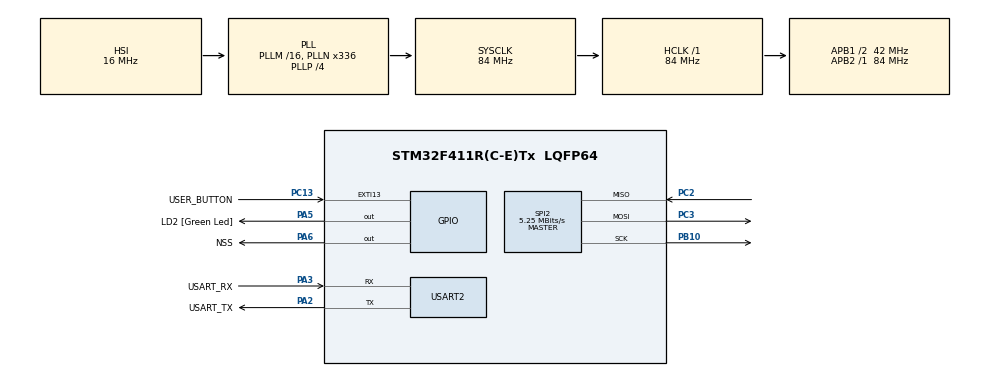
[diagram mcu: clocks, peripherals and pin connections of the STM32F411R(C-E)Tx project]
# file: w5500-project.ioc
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Dma.Request0=USART2_RX
Dma.Request1=USART2_TX
Dma.USART2_RX.0.Direction=DMA_PERIPH_TO_MEMORY
Dma.USART2_RX.0.FIFOMode=DMA_FIFOMODE_DISABLE
Dma.USART2_RX.0.Instance=DMA1_Stream5
Dma.USART2_RX.0.MemDataAlignment=DMA_MDATAALIGN_BYTE
Dma.USART2_RX.0.MemInc=DMA_MINC_ENABLE
Dma.USART2_RX.0.Mode=DMA_NORMAL
Dma.USART2_RX.0.PeriphDataAlignment=DMA_PDATAALIGN_BYTE
Dma.USART2_RX.0.PeriphInc=DMA_PINC_DISABLE
Dma.USART2_RX.0.Priority=DMA_PRIORITY_LOW
Dma.USART2_TX.1.Direction=DMA_MEMORY_TO_PERIPH
Dma.USART2_TX.1.FIFOMode=DMA_FIFOMODE_DISABLE
Dma.USART2_TX.1.Instance=DMA1_Stream6
Dma.USART2_TX.1.MemDataAlignment=DMA_MDATAALIGN_BYTE
Dma.USART2_TX.1.MemInc=DMA_MINC_ENABLE
Dma.USART2_TX.1.Mode=DMA_NORMAL
Dma.USART2_TX.1.PeriphDataAlignment=DMA_PDATAALIGN_BYTE
Dma.USART2_TX.1.PeriphInc=DMA_PINC_DISABLE
Dma.USART2_TX.1.Priority=DMA_PRIORITY_LOW
Mcu.Family=STM32F4
Mcu.Name=STM32F411R(C-E)Tx
Mcu.Package=LQFP64
NVIC.DMA1_Stream5_IRQn=true\:0\:0\:false\:false\:true\:false\:true\:true
NVIC.DMA1_Stream6_IRQn=true\:0\:0\:false\:false\:true\:false\:true\:true
NVIC.PriorityGroup=NVIC_PRIORITYGROUP_0
NVIC.USART2_IRQn=true\:0\:0\:false\:false\:true\:true\:true\:true
PA13.GPIO_Label=TMS
PA13.Mode=Serial_Wire
PA13.Signal=SYS_JTMS-SWDIO
PA14.GPIO_Label=TCK
PA14.Mode=Serial_Wire
PA14.Signal=SYS_JTCK-SWCLK
PA2.GPIO_Label=USART_TX
PA2.Mode=Asynchronous
PA2.Signal=USART2_TX
PA3.GPIO_Label=USART_RX
PA3.Mode=Asynchronous
PA3.Signal=USART2_RX
PA5.GPIO_Label=LD2 [Green Led]
PA5.Signal=GPIO_Output
PA6.GPIO_Label=NSS
PA6.Signal=GPIO_Output
PB10.Mode=Full_Duplex_Master
PB10.Signal=SPI2_SCK
PB3.GPIO_Label=SWO
PB3.Signal=SYS_JTDO-SWO
PC13-ANTI_TAMP.GPIO_Label=USER_BUTTON
PC13-ANTI_TAMP.GPIO_ModeDefaultEXTI=GPIO_MODE_IT_FALLING
PC13-ANTI_TAMP.Signal=GPXTI13
PC14-OSC32_IN.Mode=LSE-External-Oscillator
PC14-OSC32_IN.Signal=RCC_OSC32_IN
PC15-OSC32_OUT.Mode=LSE-External-Oscillator
PC15-OSC32_OUT.Signal=RCC_OSC32_OUT
PC2.GPIO_PuPd=GPIO_NOPULL
PC2.Mode=Full_Duplex_Master
PC2.Signal=SPI2_MISO
PC3.Mode=Full_Duplex_Master
PC3.Signal=SPI2_MOSI
PH0\ -\ OSC_IN.Mode=HSE-External-Clock-Source
PH0\ -\ OSC_IN.Signal=RCC_OSC_IN
PH1\ -\ OSC_OUT.Mode=HSE-External-Clock-Source
PH1\ -\ OSC_OUT.Signal=RCC_OSC_OUT
ProjectManager.HeapSize=0x200
ProjectManager.StackSize=0x400
ProjectManager.TargetToolchain=Makefile
RCC.48MHZClocksFreq_Value=84000000
RCC.AHBFreq_Value=84000000
RCC.APB1CLKDivider=RCC_HCLK_DIV2
RCC.APB1Freq_Value=42000000
RCC.APB1TimFreq_Value=84000000
RCC.APB2Freq_Value=84000000
RCC.APB2TimFreq_Value=84000000
RCC.CortexFreq_Value=84000000
RCC.FLatency-AdvancedSettings=FLASH_LATENCY_2
RCC.HCLKFreq_Value=84000000
RCC.HSE_VALUE=8000000
RCC.HSI_VALUE=16000000
RCC.PLLN=336
RCC.PLLP=RCC_PLLP_DIV4
RCC.SYSCLKFreq_VALUE=84000000
RCC.SYSCLKSource=RCC_SYSCLKSOURCE_PLLCLK
RCC.VCOOutputFreq_Value=336000000
SPI2.BaudRatePrescaler=SPI_BAUDRATEPRESCALER_8
SPI2.CalculateBaudRate=5.25 MBits/s
SPI2.Direction=SPI_DIRECTION_2LINES
SPI2.Mode=SPI_MODE_MASTER
SPI2.VirtualType=VM_MASTER
USART2.VirtualMode=VM_ASYNC
board=NUCLEO-F411RE

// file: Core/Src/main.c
/* USER CODE BEGIN Header */
/**
  ******************************************************************************
  * @file           : main.c
  * @brief          : Main program body
  ******************************************************************************
  * @attention
  *
  * Copyright (c) 2022 STMicroelectronics.
  * All rights reserved.
  *
  * This software is licensed under terms that can be found in the LICENSE file
  * in the root directory of this software component.
  * If no LICENSE file comes with this software, it is provided AS-IS.
  *
  ******************************************************************************
  */
/* USER CODE END Header */
#include "main.h"

/* USER CODE BEGIN Includes */

#include <stdio.h>
#include "wiznet_communication.h"
#include "serial_communication.h"
#include "command_handler.h"
#include "consts.h"
#include "tmp.h"

/* USER CODE END Includes */

SPI_HandleTypeDef hspi2;
UART_HandleTypeDef huart2;
DMA_HandleTypeDef hdma_usart2_rx;
DMA_HandleTypeDef hdma_usart2_tx;

void SystemClock_Config(void);
static void MX_GPIO_Init(void);
static void MX_DMA_Init(void);
static void MX_SPI2_Init(void);
static void MX_USART2_UART_Init(void);

int main(void)
{

  /* MCU Configuration--------------------------------------------------------*/

  /* Reset of all peripherals, Initializes the Flash interface and the Systick. */
  HAL_Init();

  /* Configure the system clock */
  SystemClock_Config();

  /* Initialize all configured peripherals */
  MX_GPIO_Init();
  MX_DMA_Init();
  MX_SPI2_Init();
  MX_USART2_UART_Init();

  /* USER CODE BEGIN 2 */
  uint8_t buffRead[22];
  uint8_t buffWrite_Gateway[3] = { 0b00000000, 0b00000001, 0b00000000 };

  HAL_UART_Receive_DMA(&huart2, (uint8_t *)&ReceivedOpCode.dword, 8);

  int send_data = 0;
  int time = HAL_GetTick();
  int time_since_change = HAL_GetTick();

  //TBD
  readFromGateway();

  // TBD
  setDataTmp(&huart2, &ReceivedOpCode, &hspi2);
  send_init_data(&ReceivedOpCode);
  /* USER CODE END 2 */

  /* Infinite loop */
  /* USER CODE BEGIN WHILE */
  while (1)
  {
    if (HAL_GPIO_ReadPin(USER_BUTTON_GPIO_Port, USER_BUTTON_Pin) == GPIO_PIN_RESET) {
      if (time_since_change + 100 <= HAL_GetTick()) {
        if (send_data) {
          send_data = 0;
          HAL_GPIO_WritePin(LD2_GPIO_Port, LD2_Pin, GPIO_PIN_SET);
          time_since_change = HAL_GetTick();
        } else {
          send_data = 1;
          HAL_GPIO_WritePin(LD2_GPIO_Port, LD2_Pin, GPIO_PIN_RESET);
          time = HAL_GetTick();
          time_since_change = HAL_GetTick();
        }
      }
    }

    if (send_data) {
      if (time + 2000 <= HAL_GetTick()) {
        HAL_GPIO_WritePin(NSS_GPIO_Port, NSS_Pin, GPIO_PIN_RESET);
        HAL_SPI_Transmit(&hspi2, buffWrite_Gateway, 3, HAL_MAX_DELAY);
        HAL_SPI_Receive(&hspi2, buffRead, 22, HAL_MAX_DELAY);
        HAL_GPIO_WritePin(NSS_GPIO_Port, NSS_Pin, GPIO_PIN_SET);
        time = HAL_GetTick();
      }
    }
    /* USER CODE END WHILE */

  }
}

void SystemClock_Config(void)
{
  RCC_OscInitTypeDef RCC_OscInitStruct = {0};
  RCC_ClkInitTypeDef RCC_ClkInitStruct = {0};

  /** Configure the main internal regulator output voltage
  */
  __HAL_RCC_PWR_CLK_ENABLE();
  __HAL_PWR_VOLTAGESCALING_CONFIG(PWR_REGULATOR_VOLTAGE_SCALE1);

  /** Initializes the RCC Oscillators according to the specified parameters
  * in the RCC_OscInitTypeDef structure.
  */
  RCC_OscInitStruct.OscillatorType = RCC_OSCILLATORTYPE_HSI;
  RCC_OscInitStruct.HSIState = RCC_HSI_ON;
  RCC_OscInitStruct.HSICalibrationValue = RCC_HSICALIBRATION_DEFAULT;
  RCC_OscInitStruct.PLL.PLLState = RCC_PLL_ON;
  RCC_OscInitStruct.PLL.PLLSource = RCC_PLLSOURCE_HSI;
  RCC_OscInitStruct.PLL.PLLM = 16;
  RCC_OscInitStruct.PLL.PLLN = 336;
  RCC_OscInitStruct.PLL.PLLP = RCC_PLLP_DIV4;
  RCC_OscInitStruct.PLL.PLLQ = 4;
  if (HAL_RCC_OscConfig(&RCC_OscInitStruct) != HAL_OK)
  {
    Error_Handler();
  }

  /** Initializes the CPU, AHB and APB buses clocks
  */
  RCC_ClkInitStruct.ClockType = RCC_CLOCKTYPE_HCLK|RCC_CLOCKTYPE_SYSCLK
                              |RCC_CLOCKTYPE_PCLK1|RCC_CLOCKTYPE_PCLK2;
  RCC_ClkInitStruct.SYSCLKSource = RCC_SYSCLKSOURCE_PLLCLK;
  RCC_ClkInitStruct.AHBCLKDivider = RCC_SYSCLK_DIV1;
  RCC_ClkInitStruct.APB1CLKDivider = RCC_HCLK_DIV2;
  RCC_ClkInitStruct.APB2CLKDivider = RCC_HCLK_DIV1;

  if (HAL_RCC_ClockConfig(&RCC_ClkInitStruct, FLASH_LATENCY_2) != HAL_OK)
  {
    Error_Handler();
  }
}

static void MX_SPI2_Init(void)
{

  /* SPI2 parameter configuration*/
  hspi2.Instance = SPI2;
  hspi2.Init.Mode = SPI_MODE_MASTER;
  hspi2.Init.Direction = SPI_DIRECTION_2LINES;
  hspi2.Init.DataSize = SPI_DATASIZE_8BIT;
  hspi2.Init.CLKPolarity = SPI_POLARITY_LOW;
  hspi2.Init.CLKPhase = SPI_PHASE_1EDGE;
  hspi2.Init.NSS = SPI_NSS_SOFT;
  hspi2.Init.BaudRatePrescaler = SPI_BAUDRATEPRESCALER_8;
  hspi2.Init.FirstBit = SPI_FIRSTBIT_MSB;
  hspi2.Init.TIMode = SPI_TIMODE_DISABLE;
  hspi2.Init.CRCCalculation = SPI_CRCCALCULATION_DISABLE;
  hspi2.Init.CRCPolynomial = 10;
  if (HAL_SPI_Init(&hspi2) != HAL_OK)
  {
    Error_Handler();
  }

}

static void MX_USART2_UART_Init(void)
{

  huart2.Instance = USART2;
  huart2.Init.BaudRate = 115200;
  huart2.Init.WordLength = UART_WORDLENGTH_8B;
  huart2.Init.StopBits = UART_STOPBITS_1;
  huart2.Init.Parity = UART_PARITY_NONE;
  huart2.Init.Mode = UART_MODE_TX_RX;
  huart2.Init.HwFlowCtl = UART_HWCONTROL_NONE;
  huart2.Init.OverSampling = UART_OVERSAMPLING_16;
  if (HAL_UART_Init(&huart2) != HAL_OK)
  {
    Error_Handler();
  }

}

static void MX_DMA_Init(void)
{

  /* DMA controller clock enable */
  __HAL_RCC_DMA1_CLK_ENABLE();

  /* DMA interrupt init */
  /* DMA1_Stream5_IRQn interrupt configuration */
  HAL_NVIC_SetPriority(DMA1_Stream5_IRQn, 0, 0);
  HAL_NVIC_EnableIRQ(DMA1_Stream5_IRQn);
  /* DMA1_Stream6_IRQn interrupt configuration */
  HAL_NVIC_SetPriority(DMA1_Stream6_IRQn, 0, 0);
  HAL_NVIC_EnableIRQ(DMA1_Stream6_IRQn);

}

static void MX_GPIO_Init(void)
{
  GPIO_InitTypeDef GPIO_InitStruct = {0};

  /* GPIO Ports Clock Enable */
  __HAL_RCC_GPIOC_CLK_ENABLE();
  __HAL_RCC_GPIOH_CLK_ENABLE();
  __HAL_RCC_GPIOA_CLK_ENABLE();
  __HAL_RCC_GPIOB_CLK_ENABLE();

  /*Configure GPIO pin Output Level */
  HAL_GPIO_WritePin(GPIOA, LD2_Pin|NSS_Pin, GPIO_PIN_RESET);

  /*Configure GPIO pin : USER_BUTTON_Pin */
  GPIO_InitStruct.Pin = USER_BUTTON_Pin;
  GPIO_InitStruct.Mode = GPIO_MODE_IT_FALLING;
  GPIO_InitStruct.Pull = GPIO_NOPULL;
  HAL_GPIO_Init(USER_BUTTON_GPIO_Port, &GPIO_InitStruct);

  /*Configure GPIO pins : LD2_Pin NSS_Pin */
  GPIO_InitStruct.Pin = LD2_Pin|NSS_Pin;
  GPIO_InitStruct.Mode = GPIO_MODE_OUTPUT_PP;
  GPIO_InitStruct.Pull = GPIO_NOPULL;
  GPIO_InitStruct.Speed = GPIO_SPEED_FREQ_LOW;
  HAL_GPIO_Init(GPIOA, &GPIO_InitStruct);

}

void Error_Handler(void)
{
  __disable_irq();
  while (1)
  {
  }
}
